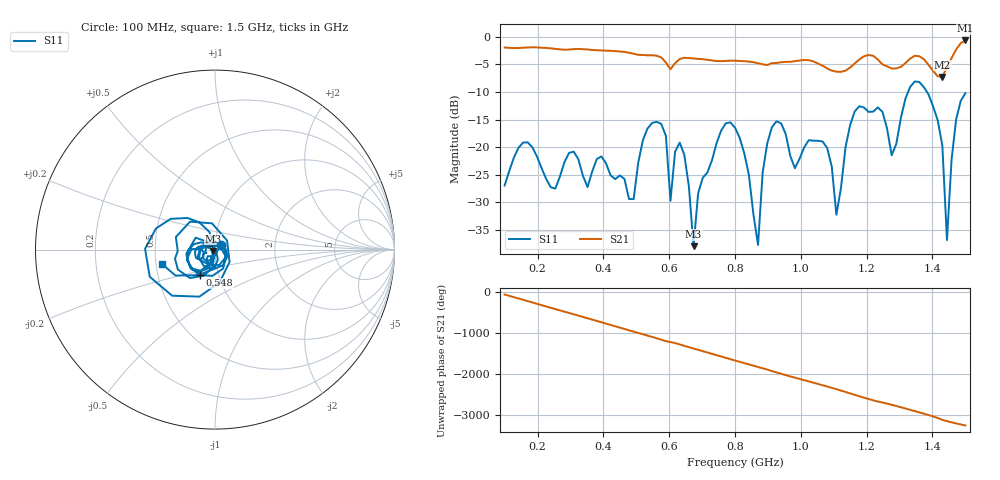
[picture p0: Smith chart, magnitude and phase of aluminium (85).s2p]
! NanoVNA-App
! Date: 2025-09-26 09:58:43
! Start: 100MHz Stop: 1,5GHz Points: 101
! S-Parameter data: F S11 S21 S12 S22
# Hz S RI R 50
!  Frequency  S11_Real  S11_Imag  S21_Real  S21_Imag  S12_Real  S12_Imag  S22_Real  S22_Imag
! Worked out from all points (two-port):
!   101 points, 100 MHz to 1.5 GHz, reference 50 ohm
!   highest |S21| = -0.64 dB at 1.5 GHz (marker M1); lowest = -7.2 dB at 1.43 GHz (marker M2)
!   |S21| within 3 dB of the highest: start of sweep to 572.7 MHz; 1.189 GHz to 1.224 GHz (35.76 MHz wide, 2.96 % of centre)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
!   lowest |S11| = -38.0 dB at 674 MHz (marker M3), VSWR 1.03, Z = 49 - j0.694 ohm
!   |S11| at or under -10 dB: start of sweep to 1.326 GHz; 1.383 GHz to end of sweep
!   S12 and S22 are empty: the file has one direction only
!   S11 on the Smith chart (normalised r, x): 100 MHz: 1.07, +0.06; 548 MHz: 0.81, -0.24; 1.5 GHz: 0.54, -0.09
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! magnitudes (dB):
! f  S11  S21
! 100 MHz  -27.0  -1.9
! 156 MHz  -19.2  -2.0
! 338 MHz  -25.2  -2.2
! 492 MHz  -29.4  -3.1
! 548 MHz  -15.6  -3.3
! 576 MHz  -15.8  -3.7
! 604 MHz  -29.8  -5.9
! 646 MHz  -21.4  -3.8
! 674 MHz  -38.0  -3.9
! 702 MHz  -25.6  -4.0
! 800 MHz  -16.5  -4.3
! 870 MHz  -37.8  -4.8
! 912 MHz  -16.4  -4.8
! 1.038 GHz  -18.8  -4.4
! 1.108 GHz  -32.3  -6.3
! 1.178 GHz  -12.6  -4.1
! 1.276 GHz  -21.5  -5.7
! 1.346 GHz  -8.1  -3.4
! 1.43 GHz  -19.7  -7.2
! 1.444 GHz  -36.9  -5.5
! 1.472 GHz  -14.9  -2.3
! 1.5 GHz  -10.2  -0.6
